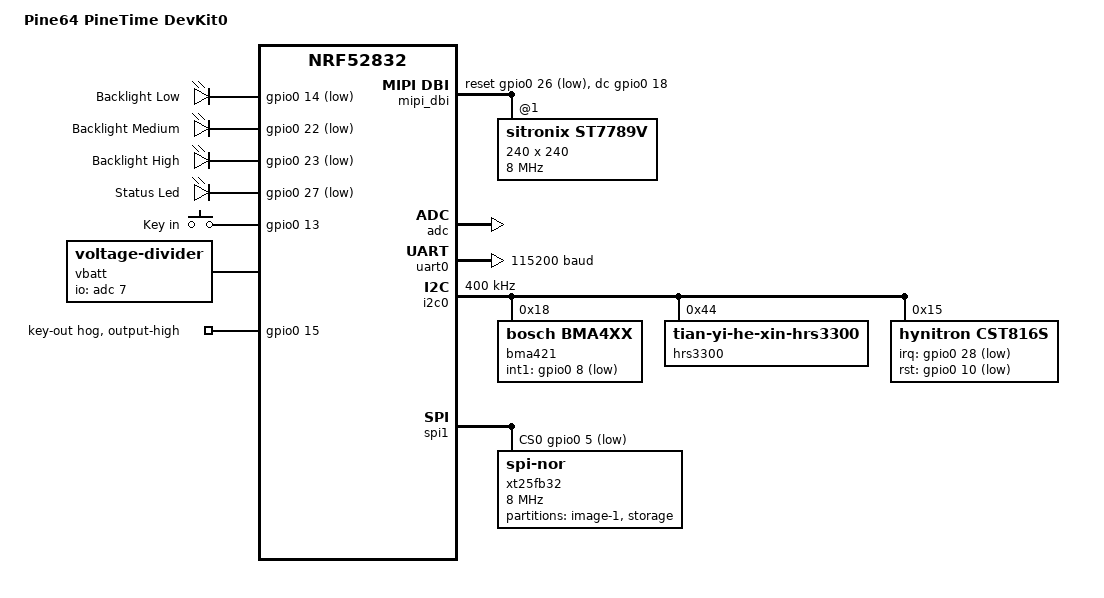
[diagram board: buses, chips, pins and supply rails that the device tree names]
/*
 * Copyright (c) 2020 Stephane Dorre <stephane.dorre@gmail.com>
 *
 * SPDX-License-Identifier: Apache-2.0
 *
 * DTS for Pine64 PineTime DevKit-0 board
 * Further info: https://wiki.pine64.org/index.php/PineTime
 *
 */

/dts-v1/;
#include <nordic/nrf52832_qfaa.dtsi>
#include "pinetime_devkit0-pinctrl.dtsi"
#include <zephyr/dt-bindings/input/input-event-codes.h>
#include <zephyr/dt-bindings/mipi_dbi/mipi_dbi.h>

/ {
	model = "Pine64 PineTime DevKit0";
	compatible = "pine64,pinetime-devkit0";

	chosen {
		zephyr,console = &uart0;
		zephyr,shell-uart = &uart0;
		zephyr,bt-mon-uart = &uart0;
		zephyr,bt-c2h-uart = &uart0;
		zephyr,sram = &sram0;
		zephyr,flash = &flash0;
		zephyr,code-partition = &slot0_partition;
		zephyr,display = &st7789v;
	};

	aliases {
		led0 = &blled0;	/* backlight low */
		led1 = &blled1;	/* backlight mid */
		led2 = &blled2;	/* backlight high */
		led3 = &statusled;	/* status led, may be not populated */
		sw0 = &key_in;  /* key in */
		watchdog0 = &wdt0;
	};

	leds {
		compatible = "gpio-leds";
		blled0: bl_led_0 {
			gpios = <&gpio0 14 GPIO_ACTIVE_LOW>;
			label = "Backlight Low";
		};
		blled1: bl_led_1 {
			gpios = <&gpio0 22 GPIO_ACTIVE_LOW>;
			label = "Backlight Medium";
		};
		blled2: bl_led_2 {
			gpios = <&gpio0 23 GPIO_ACTIVE_LOW>;
			label = "Backlight High";
		};
		statusled: led_3 {
			gpios = <&gpio0 27 GPIO_ACTIVE_LOW>;
			label = "Status Led";
		};
	};

	buttons {
		compatible = "gpio-keys";
		key_in: button_0 {
			gpios = <&gpio0 13 GPIO_ACTIVE_HIGH>;
			label = "Key in";
			zephyr,code = <INPUT_KEY_0>;
		};
	};

	lvgl_pointer {
		compatible = "zephyr,lvgl-pointer-input";
		input = <&cst816s>;
	};

	vbatt {
		compatible = "voltage-divider";
		io-channels = <&adc 7>;
		output-ohms = <1000000>;
		full-ohms = <(1000000 + 1000000)>;
	};

	mipi_dbi {
		compatible = "zephyr,mipi-dbi-spi";
		spi-dev = <&spi1>;
		dc-gpios = <&gpio0 18 GPIO_ACTIVE_HIGH>;	/* DET */
		reset-gpios = <&gpio0 26 GPIO_ACTIVE_LOW>;	/* RESX reset */
		write-only;
		#address-cells = <1>;
		#size-cells = <0>;
		/* Sitronix ST7789V LCD */
		st7789v: st7789v@1 {
			compatible = "sitronix,st7789v";
			reg = <1>;
			mipi-max-frequency = <8000000>; /* 8MHz */
			width = <240>;
			height = <240>;
			x-offset = <0>;
			y-offset = <0>;
			vcom = <0x19>;
			gctrl = <0x35>;
			vrhs = <0x12>;
			vdvs = <0x20>;
			mdac = <0x00>;
			gamma = <0x01>;
			colmod = <0x05>;
			lcm = <0x2c>;
			porch-param = [0c 0c 00 33 33];
			cmd2en-param = [5a 69 02 01];
			pwctrl1-param = [a4 a1];
			pvgam-param = [D0 04 0D 11 13 2B 3F 54 4C 18 0D 0B 1F 23];
			nvgam-param = [D0 04 0C 11 13 2C 3F 44 51 2F 1F 1F 20 23];
			ram-param = [00 F0];
			rgb-param = [CD 08 14];
			mipi-mode = <MIPI_DBI_MODE_SPI_4WIRE>;
		};
	};
};

&adc {
	status = "okay";
};

&uicr {
	gpio-as-nreset;
};

&gpiote {
	status = "okay";
};

&uicr {
	nfct-pins-as-gpios;
};

&gpio0 {
	status = "okay";

	key-out {
		gpio-hog;
		gpios = <15 GPIO_ACTIVE_HIGH>;
		output-high;
	};
};

&uart0 {
	compatible = "nordic,nrf-uart";
	current-speed = <115200>;
	status = "okay";
	pinctrl-0 = <&uart0_default>;
	pinctrl-1 = <&uart0_sleep>;
	pinctrl-names = "default", "sleep";
};

&i2c0 {
	compatible = "nordic,nrf-twim";
	status = "okay";
	clock-frequency = <I2C_BITRATE_FAST>; /* 400KHz */

	/* BOSCH BMA421 Triaxial Acceleration Sensor (1000KHz) */
	pinctrl-0 = <&i2c0_default>;
	pinctrl-1 = <&i2c0_sleep>;
	pinctrl-names = "default", "sleep";
	bma421: bma421@18 {
		compatible = "bosch,bma4xx";
		reg = <0x18>;
		int1-gpios = <&gpio0 8 GPIO_ACTIVE_LOW>;
	};

	/* TianYiHeXin HRS3300 PPG Hear Rate Sensor (800KHz) */
	hrs3300: hrs3300@44 {
		compatible = "tian-yi-he-xin-hrs3300";
		reg = <0x44>;
	};

	/* Hynitron CST816S Capacitive Touch Controller (400KHz) */
	cst816s: cst816s@15 {
		compatible = "hynitron,cst816s";
		reg = <0x15>;
		irq-gpios = <&gpio0 28 GPIO_ACTIVE_LOW>;
		rst-gpios = <&gpio0 10 GPIO_ACTIVE_LOW>;
	};
};

&spi1 {
	compatible = "nordic,nrf-spi";
	status = "okay";

	cs-gpios = <&gpio0 5 GPIO_ACTIVE_LOW>, <&gpio0 25 GPIO_ACTIVE_LOW>;

	pinctrl-0 = <&spi1_default>;
	pinctrl-1 = <&spi1_sleep>;
	pinctrl-names = "default", "sleep";
	xt25fb32: xt25fb32@0 {
		compatible = "jedec,spi-nor";
		reg = <0>;
		spi-max-frequency = <8000000>; /* 8MHz */
		jedec-id = [0b 40 16];
		size = <DT_SIZE_M(32)>;

		partitions {
			compatible = "fixed-partitions";
			#address-cells = <1>;
			#size-cells = <1>;

			/* next firmware update */
			slot1_partition: partition@0 {
				label = "image-1";
				reg = <0x00000000 0x74000>;
			};

			/* to be used in firmware */
			storage_partition: partition@300000 {
				label = "storage";
				reg = <0x00300000 0x00100000>;
			};
		};
	};
};

&flash0 {
	partitions {
		compatible = "fixed-partitions";
		#address-cells = <1>;
		#size-cells = <1>;

		/* MCUboot bootloader */
		boot_partition: partition@0 {
			label = "mcuboot";
			reg = <0x00000000 0xc000>;
		};

		/* main firmware partition */
		slot0_partition: partition@c000 {
			label = "image-0";
			reg = <0x0000C000 0x74000>;
		};
	};
};
